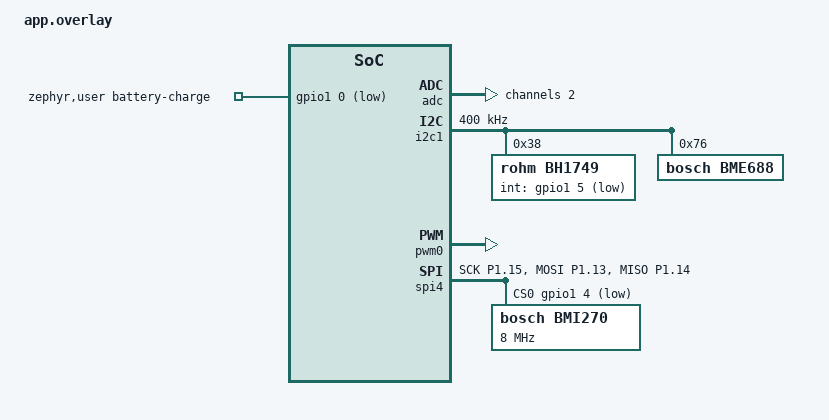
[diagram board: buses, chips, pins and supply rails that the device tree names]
/* SPDX-License-Identifier: LicenseRef-Nordic-5-Clause */
#include <dt-bindings/gpio/gpio.h>
#include <dt-bindings/spi/spi.h>
#include <dt-bindings/pinctrl/nrf-pinctrl.h>

/ {
    aliases {
        battery-charge = &battery_charge_gpio;
        /* Alias PWM LEDS (seulement vert et bleu, noms conformes Zephyr) */
        pwmled1 = &pwm_led_green;
        pwmled2 = &pwm_led_blue;
    };

    zephyr,user {
        battery-charge-gpios = <&gpio1 0 (GPIO_PULL_UP | GPIO_ACTIVE_LOW)>;
    };

    battery_charge_gpio: battery-charge-gpio {
        compatible = "gpio-leds";
        gpios = <&gpio1 0 (GPIO_PULL_UP | GPIO_ACTIVE_LOW)>;
        label = "Battery charge detection";
    };
};

/* ADC configuration */
&adc {
    #address-cells = <1>;
    #size-cells = <0>;
    channel@2 {
        reg = <2>;
        zephyr,gain = "ADC_GAIN_1";
        zephyr,reference = "ADC_REF_INTERNAL";
        zephyr,acquisition-time = <40>;
        zephyr,input-positive = <2>;
        zephyr,resolution = <12>;
        zephyr,oversampling = <4>;
    };
};

/* I2C bus with BH1749 and BME688 */
&i2c1 {
    status = "okay";
    clock-frequency = <I2C_BITRATE_FAST>;

    bh1749@38 {
        compatible = "rohm,bh1749";
        reg = <0x38>;
        int-gpios = <&gpio1 5 (GPIO_PULL_UP | GPIO_ACTIVE_LOW)>;
    };

    bme688@76 {
        compatible = "bosch,bme688";
        reg = <0x76>;
    };
};

/* PWM LED nodes (vert et bleu uniquement) */
&pwm0 {
    status = "okay";
    pwm_led_green: pwm_led_green {
        pwms = <&pwm0 0 20000 PWM_POLARITY_NORMAL>;
        label = "Green PWM LED";
    };
    pwm_led_blue: pwm_led_blue {
        pwms = <&pwm0 1 20000 PWM_POLARITY_NORMAL>;
        label = "Blue PWM LED";
    };
};

/* Pinctrl for SPI4 */
&pinctrl {
    spi4_default: spi4_default {
        group1 {
            psels = <NRF_PSEL(SPIM_SCK, 1, 15)>,
                    <NRF_PSEL(SPIM_MOSI, 1, 13)>,
                    <NRF_PSEL(SPIM_MISO, 1, 14)>;
        };
    };

    spi4_sleep: spi4_sleep {
        group1 {
            psels = <NRF_PSEL(SPIM_SCK, 1, 15)>,
                    <NRF_PSEL(SPIM_MOSI, 1, 13)>,
                    <NRF_PSEL(SPIM_MISO, 1, 14)>;
            low-power-enable;
        };
    };
};

/* SPI4 setup with BMI270 as a child node */
&spi4 {
    status = "okay";
    pinctrl-0 = <&spi4_default>;
    pinctrl-1 = <&spi4_sleep>;
    pinctrl-names = "default", "sleep";
    cs-gpios = <&gpio1 4 GPIO_ACTIVE_LOW>;

    spi_fwd: spi_fwd@0 {
        status = "disabled";
        reg = <0>;
    };

    bmi270@0 {
        compatible = "bosch,bmi270";
        reg = <0>;
        status = "okay";
        spi-max-frequency = <8000000>;
        /* Uncomment if using INT pin:
         * int-gpios = <&gpio1 6 (GPIO_PULL_UP | GPIO_ACTIVE_LOW)>;
         */
    };
};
